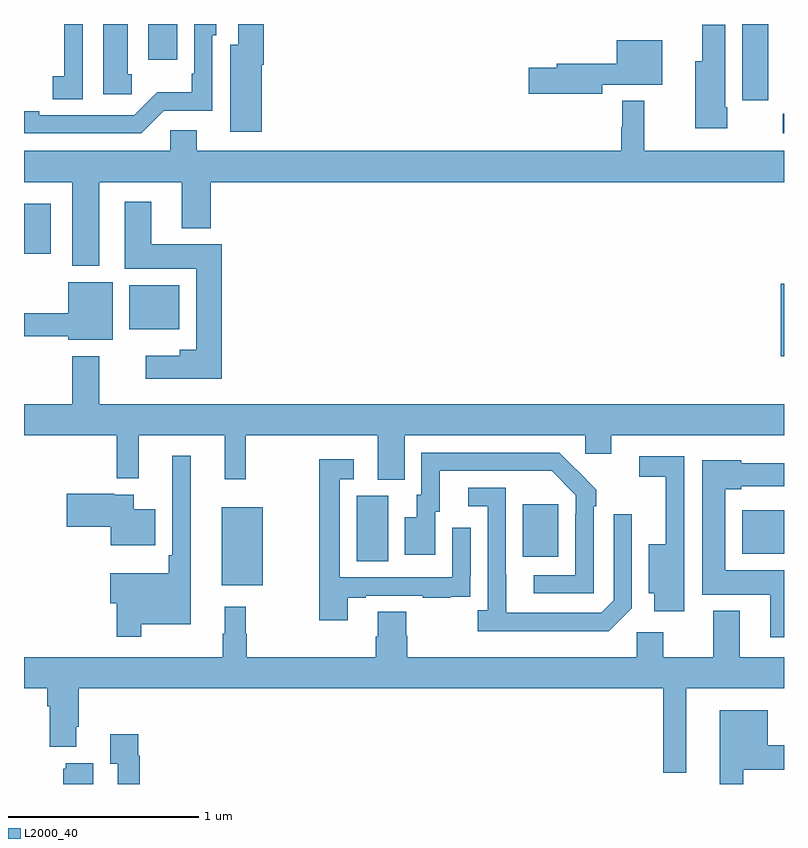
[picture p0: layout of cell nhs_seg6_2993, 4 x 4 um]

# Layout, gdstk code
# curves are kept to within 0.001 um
import gdstk
lib = gdstk.Library(unit=1e-6, precision=1e-09)
def R(c, l, rs):  # rectangles x0, y0, x1, y1
    for r in rs: c.add(gdstk.rectangle(r[:2], r[2:], *l))
def P(c, l, *ps):  # polygons
    for p in ps: c.add(gdstk.Polygon(p, *l))
L2000_40 = (2000, 40)

nhs_seg6_2993 = lib.new_cell('nhs_seg6_2993')
R(nhs_seg6_2993, L2000_40, [(288.041,946.547,288.256,946.957), (288.752,946.672,288.916,947.016), (289.625,946.697,289.813,946.972), (290.78,946.712,291,946.942), (290.984,947.751,291,948.132), (287.555,947.894,287.818,948.124), (287,948.29,287.14,948.553), (290.994,948.924,291,949.027), (290.78,949.098,290.917,949.5), (287.654,949.311,287.806,949.5)])
P(nhs_seg6_2993, L2000_40, [(287.31,949.5),(287.212,949.5),(287.212,949.225),(287.151,949.225),(287.151,949.105),(287.31,949.105)],
  [(287.736,949.044),(287.991,949.044),(287.991,949.44),(288.012,949.44),(288.012,949.5),(287.895,949.5),(287.895,949.237),(287.883,949.237),(287.883,949.141),(287.701,949.141),(287.58,949.02),(287.08,949.02),(287.08,949.04),(287,949.04),(287,948.924),(287.616,948.924)],
  [(288.25,949.286),(288.263,949.286),(288.263,949.5),(288.128,949.5),(288.128,949.39),(288.086,949.39),(288.086,948.933),(288.25,948.933)],
  [(287.567,949.236),(287.545,949.236),(287.545,949.5),(287.417,949.5),(287.417,949.131),(287.567,949.131)],
  [(290.7,949.063),(290.692,949.063),(290.692,949.495),(290.57,949.495),(290.57,949.303),(290.534,949.303),(290.534,948.951),(290.7,948.951)],
  [(290.044,949.181),(290.359,949.181),(290.359,949.414),(290.12,949.414),(290.12,949.291),(289.805,949.291),(289.805,949.269),(289.656,949.269),(289.656,949.132),(290.044,949.132)],
  [(287.395,948.668),(287.831,948.668),(287.831,948.425),(287.984,948.425),(287.984,948.668),(291,948.668),(291,948.832),(290.264,948.832),(290.264,949.096),(290.148,949.096),(290.148,948.956),(290.143,948.956),(290.143,948.832),(287.908,948.832),(287.908,948.942),(287.769,948.942),(287.769,948.832),(287,948.832),(287,948.668),(287.255,948.668),(287.255,948.227),(287.395,948.227)],
  [(288.041,948.34),(287.671,948.34),(287.671,948.565),(287.531,948.565),(287.531,948.212),(287.906,948.212),(287.906,947.785),(287.819,947.785),(287.819,947.755),(287.64,947.755),(287.64,947.633),(288.041,947.633)],
  [(287.467,948.142),(287.234,948.142),(287.234,947.977),(287,947.977),(287,947.856),(287.234,947.856),(287.234,947.837),(287.467,947.837)],
  [(289.003,947.336),(289.953,947.336),(289.953,947.238),(290.092,947.238),(290.092,947.336),(291,947.336),(291,947.5),(287.395,947.5),(287.395,947.752),(287.255,947.752),(287.255,947.5),(287,947.5),(287,947.336),(287.489,947.336),(287.489,947.108),(287.603,947.108),(287.603,947.336),(288.056,947.336),(288.056,947.103),(288.166,947.103),(288.166,947.336),(288.863,947.336),(288.863,947.101),(289.003,947.101)],
  [(289.998,946.961),(290.013,946.961),(290.013,947.049),(289.816,947.244),(289.092,947.244),(289.092,947.022),(289.067,947.022),(289.067,946.903),(289.004,946.903),(289.004,946.707),(289.165,946.707),(289.165,946.932),(289.189,946.932),(289.189,947.148),(289.777,947.148),(289.905,947.019),(289.905,946.919),(289.902,946.919),(289.902,946.599),(289.683,946.599),(289.683,946.503),(289.998,946.503)],
  [(287.617,946.34),(287.878,946.34),(287.878,947.227),(287.781,947.227),(287.781,946.705),(287.761,946.705),(287.761,946.609),(287.454,946.609),(287.454,946.451),(287.488,946.451),(287.488,946.275),(287.617,946.275)],
  [(290.476,946.658),(290.475,946.658),(290.475,947.226),(290.238,947.226),(290.238,947.118),(290.378,947.118),(290.378,946.762),(290.288,946.762),(290.288,946.505),(290.318,946.505),(290.318,946.41),(290.476,946.41)],
  [(288.703,946.479),(288.799,946.479),(288.799,946.491),(289.099,946.491),(289.099,946.479),(289.247,946.479),(289.247,946.485),(289.349,946.485),(289.349,946.594),(289.35,946.594),(289.35,946.849),(289.254,946.849),(289.254,946.587),(288.663,946.587),(288.663,947.103),(288.736,947.103),(288.736,947.209),(288.555,947.209),(288.555,946.362),(288.703,946.362)],
  [(291,946.624),(290.692,946.624),(290.692,947.051),(290.775,947.051),(290.775,947.066),(291,947.066),(291,947.188),(290.775,947.188),(290.775,947.203),(290.57,947.203),(290.57,946.496),(290.927,946.496),(290.927,946.272),(291,946.272)],
  [(290.199,946.425),(290.199,946.921),(290.103,946.921),(290.103,946.467),(290.037,946.401),(289.537,946.401),(289.536,947.058),(289.338,947.058),(289.338,946.962),(289.44,946.962),(289.44,946.414),(289.389,946.414),(289.389,946.304),(290.078,946.304)],
  [(287.692,946.945),(287.578,946.945),(287.578,947.023),(287.474,947.023),(287.474,947.028),(287.226,947.028),(287.226,946.853),(287.456,946.853),(287.456,946.757),(287.692,946.757)],
  [(290.485,946.004),(291,946.004),(291,946.168),(290.767,946.168),(290.767,946.411),(290.627,946.411),(290.627,946.168),(290.365,946.168),(290.365,946.3),(290.226,946.3),(290.226,946.168),(289.016,946.168),(289.016,946.281),(289.011,946.281),(289.011,946.406),(288.863,946.406),(288.863,946.274),(288.851,946.274),(288.851,946.168),(288.173,946.168),(288.173,946.292),(288.166,946.292),(288.166,946.432),(288.056,946.432),(288.056,946.292),(288.045,946.292),(288.045,946.168),(287,946.168),(287,946.004),(287.123,946.004),(287.123,945.908),(287.135,945.908),(287.135,945.695),(287.275,945.695),(287.275,945.802),(287.288,945.802),(287.288,946.004),(290.364,946.004),(290.364,945.56),(290.485,945.56)],
  [(290.785,945.574),(291,945.574),(291,945.703),(290.914,945.703),(290.914,945.889),(290.663,945.889),(290.663,945.5),(290.785,945.5)],
  [(287.609,945.65),(287.602,945.65),(287.602,945.763),(287.453,945.763),(287.453,945.607),(287.493,945.607),(287.493,945.5),(287.609,945.5)],
  [(287.365,945.61),(287.219,945.61),(287.219,945.579),(287.207,945.579),(287.207,945.5),(287.365,945.5)])

lib.write_gds('nhs_seg6_2993.gds')
